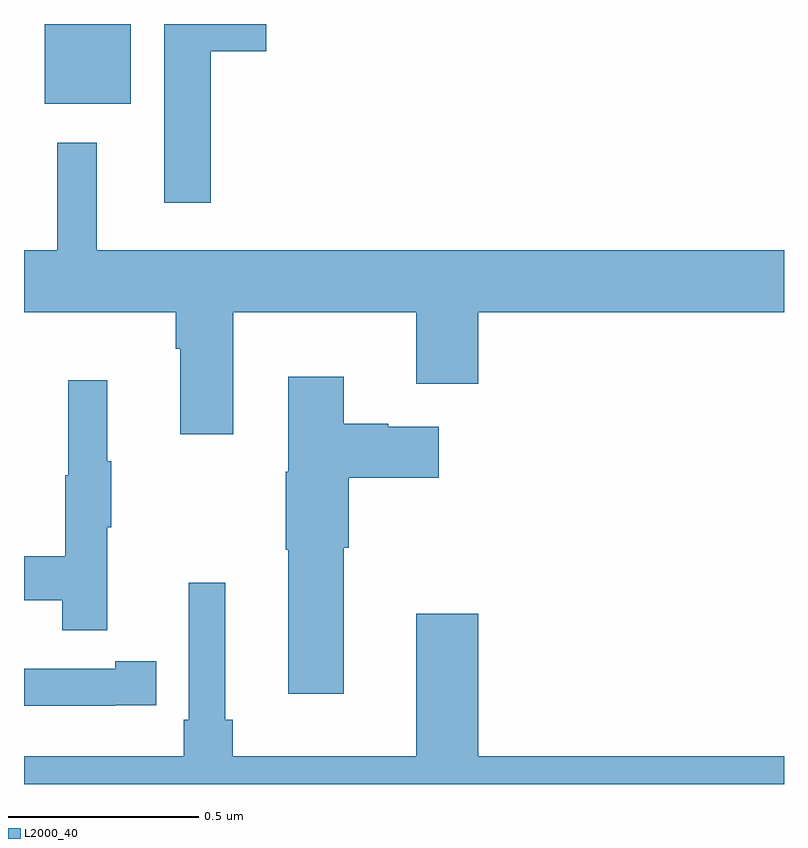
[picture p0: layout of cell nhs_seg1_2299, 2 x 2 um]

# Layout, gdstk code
import gdstk
lib = gdstk.Library(unit=1e-6, precision=1e-09)
def R(c, l, rs):  # rectangles x0, y0, x1, y1
    for r in rs: c.add(gdstk.rectangle(r[:2], r[2:], *l))
def P(c, l, *ps):  # polygons
    for p in ps: c.add(gdstk.Polygon(p, *l))
L2000_40 = (2000, 40)

nhs_seg1_2299 = lib.new_cell('nhs_seg1_2299')
R(nhs_seg1_2299, L2000_40, [(140.054,510.989,140.281,511.199)])
P(nhs_seg1_2299, L2000_40, [(140.491,511.127),(140.638,511.127),(140.638,511.199),(140.369,511.199),(140.369,510.729),(140.491,510.729)],
  [(140.551,510.44),(141.032,510.44),(141.032,510.252),(141.196,510.252),(141.196,510.44),(142,510.44),(142,510.604),(140.191,510.604),(140.191,510.886),(140.087,510.886),(140.087,510.604),(140,510.604),(140,510.44),(140.399,510.44),(140.399,510.344),(140.411,510.344),(140.411,510.12),(140.551,510.12)],
  [(140.842,509.821),(140.855,509.821),(140.855,510.005),(141.091,510.005),(141.091,510.139),(140.958,510.139),(140.958,510.147),(140.842,510.147),(140.842,510.271),(140.696,510.271),(140.696,510.021),(140.689,510.021),(140.689,509.815),(140.696,509.815),(140.696,509.436),(140.842,509.436)],
  [(140.219,509.875),(140.23,509.875),(140.23,510.049),(140.219,510.049),(140.219,510.262),(140.116,510.262),(140.116,510.012),(140.109,510.012),(140.109,509.798),(140,509.798),(140,509.682),(140.101,509.682),(140.101,509.604),(140.219,509.604)],
  [(142,509.272),(141.196,509.272),(141.196,509.647),(141.032,509.647),(141.032,509.272),(140.549,509.272),(140.549,509.368),(140.53,509.368),(140.53,509.728),(140.433,509.728),(140.433,509.368),(140.42,509.368),(140.42,509.272),(140,509.272),(140,509.199),(142,509.199)],
  [(140.24,509.406),(140.348,509.406),(140.348,509.522),(140.24,509.522),(140.24,509.502),(140,509.502),(140,509.405),(140.24,509.405)])

lib.write_gds('nhs_seg1_2299.gds')
